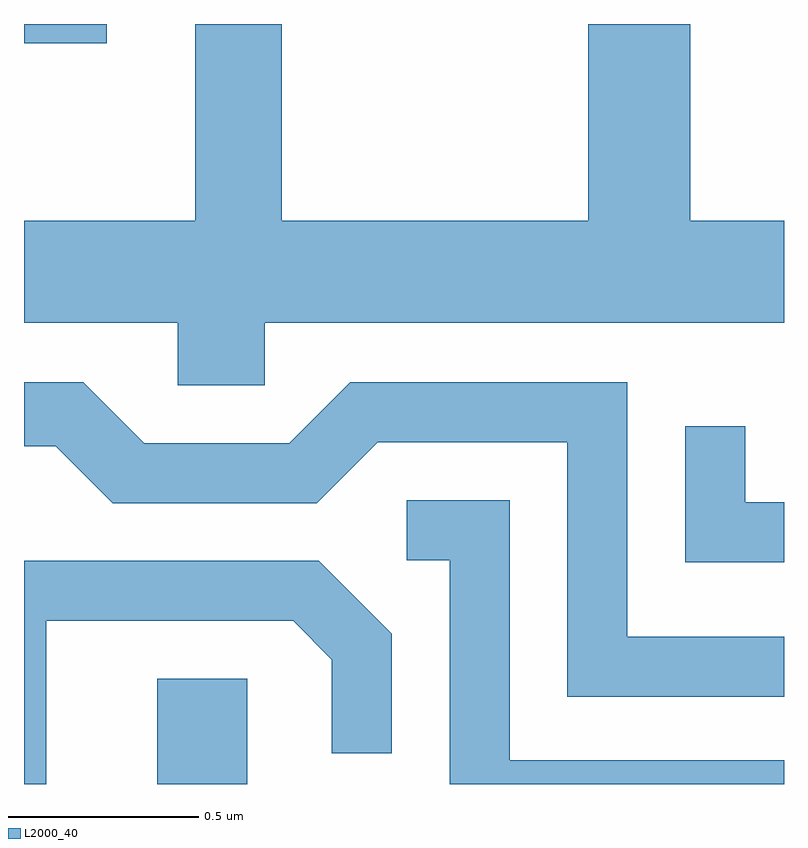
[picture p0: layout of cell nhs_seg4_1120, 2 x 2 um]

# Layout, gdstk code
import gdstk
lib = gdstk.Library(unit=1e-6, precision=1e-09)
def R(c, l, rs):  # rectangles x0, y0, x1, y1
    for r in rs: c.add(gdstk.rectangle(r[:2], r[2:], *l))
def P(c, l, *ps):  # polygons
    for p in ps: c.add(gdstk.Polygon(p, *l))
L2000_40 = (2000, 40)

nhs_seg4_1120 = lib.new_cell('nhs_seg4_1120')
R(nhs_seg4_1120, L2000_40, [(193.961,1277.982,194.199,1278.259), (193.611,1279.931,193.829,1279.982)])
P(nhs_seg4_1120, L2000_40, [(194.244,1279.196),(195.611,1279.196),(195.611,1279.464),(195.364,1279.464),(195.364,1279.982),(195.096,1279.982),(195.096,1279.464),(194.289,1279.464),(194.289,1279.982),(194.061,1279.982),(194.061,1279.464),(193.611,1279.464),(193.611,1279.196),(194.016,1279.196),(194.016,1279.031),(194.244,1279.031)],
  [(195.611,1278.369),(195.199,1278.369),(195.199,1279.039),(194.469,1279.039),(194.309,1278.879),(193.927,1278.879),(193.767,1279.039),(193.611,1279.039),(193.611,1278.871),(193.694,1278.871),(193.844,1278.721),(194.382,1278.721),(194.542,1278.881),(195.041,1278.881),(195.041,1278.211),(195.611,1278.211)],
  [(195.611,1278.724),(195.509,1278.724),(195.509,1278.923),(195.351,1278.923),(195.351,1278.566),(195.611,1278.566)],
  [(195.611,1278.044),(194.889,1278.044),(194.889,1278.729),(194.618,1278.729),(194.618,1278.571),(194.731,1278.571),(194.731,1277.982),(195.611,1277.982)],
  [(193.669,1278.411),(194.319,1278.411),(194.421,1278.309),(194.421,1278.063),(194.579,1278.063),(194.579,1278.377),(194.387,1278.569),(193.611,1278.569),(193.611,1277.982),(193.669,1277.982)])

lib.write_gds('nhs_seg4_1120.gds')
